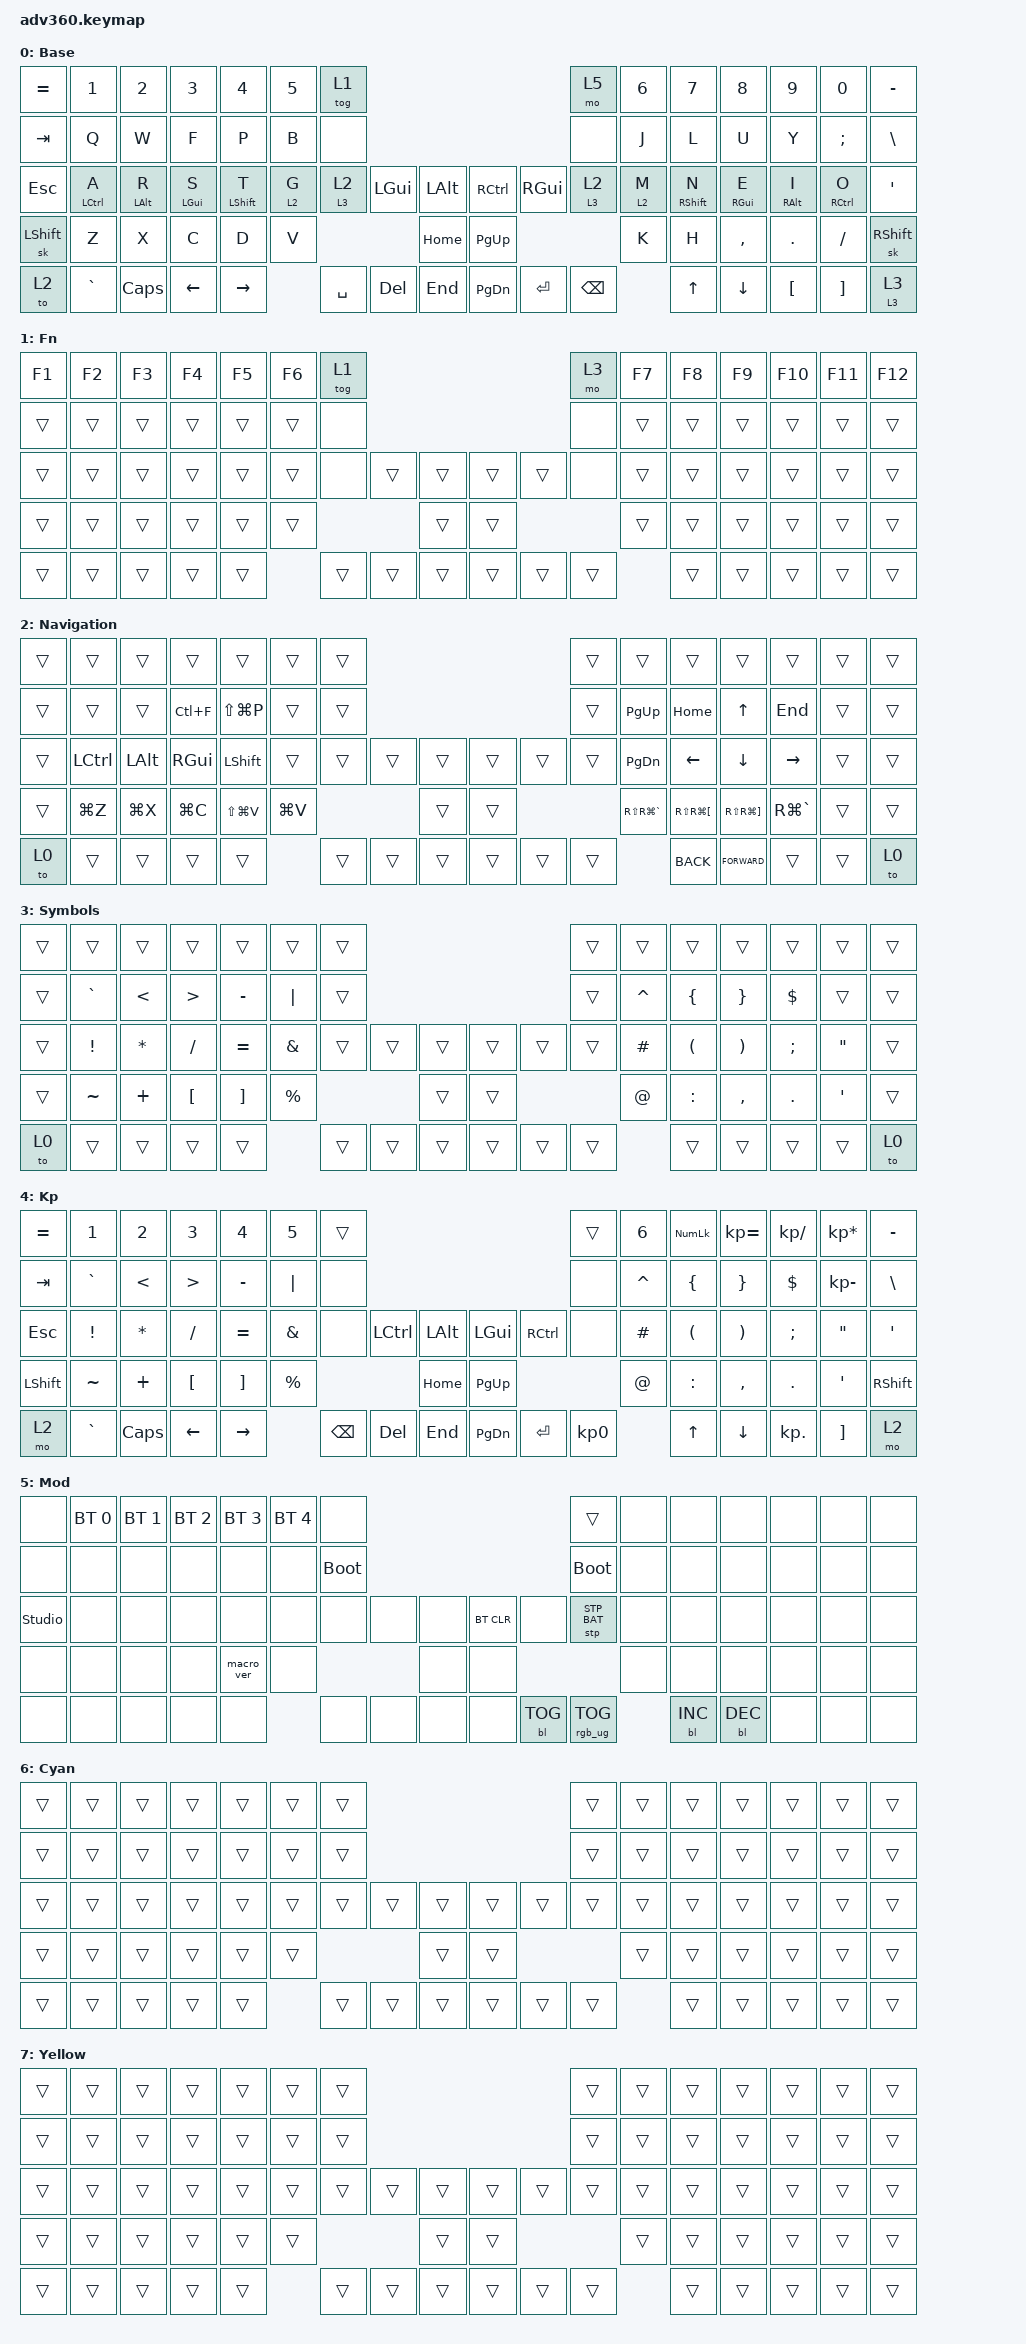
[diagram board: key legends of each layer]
#include <dt-bindings/zmk/stp.h>
#include <behaviors.dtsi>
#include <dt-bindings/zmk/backlight.h>
#include <dt-bindings/zmk/bt.h>
#include <dt-bindings/zmk/keys.h>
#include <dt-bindings/zmk/rgb.h>
#include "include/adv360.h"
#include "include/keys.h"

/ {
    behaviors {
        #include "macros.dtsi"
        #include "version.dtsi"

        hm: homerow_mods {
            compatible = "zmk,behavior-hold-tap";
            label = "HOMEROW_MODS";
            #binding-cells = <2>;
            tapping-term-ms = <200>;
            quick_tap_ms = <175>;
            flavor = "tap-preferred";
            bindings = <&kp>, <&kp>;
        };

        hml: home_row_mod_left {
            compatible = "zmk,behavior-hold-tap";
            #binding-cells = <2>;
            flavor = "balanced";
            require-prior-idle-ms = <125>;
            tapping-term-ms = <280>;
            quick-tap-ms = <175>;
            bindings = <&kp>, <&kp>;

            hold-trigger-key-positions = <KEYS_R THUMBS>;
            hold-trigger-on-release;
        };

        hmr: home_row_mod_right {
            compatible = "zmk,behavior-hold-tap";
            #binding-cells = <2>;
            flavor = "balanced";
            require-prior-idle-ms = <125>;
            tapping-term-ms = <280>;
            quick-tap-ms = <175>;
            bindings = <&kp>, <&kp>;

            hold-trigger-key-positions = <KEYS_L THUMBS>;
            hold-trigger-on-release;
        };

        mo_tog: behavior_mo_tog {
            compatible = "zmk,behavior-hold-tap";
            #binding-cells = <2>;
            flavor = "hold-preferred";
            tapping-term-ms = <200>;
            bindings = <&mo>, <&tog>;
        };
    };

    keymap {
        compatible = "zmk,keymap";

        default_layer {
            display-name = "Base";
            bindings = <
&kp EQUAL  &kp N1               &kp N2           &kp N3           &kp N4             &kp N5   &tog 1                                                                     &mo 5          &kp N6   &kp N7              &kp N8            &kp N9            &kp N0                &kp MINUS
&kp TAB    &kp Q                &kp W            &kp F            &kp P              &kp B    &none                                                                      &none          &kp J    &kp L               &kp U             &kp Y             &kp SEMICOLON         &kp BSLH
&kp ESC    &hml LEFT_CONTROL A  &hml LEFT_ALT R  &hml LEFT_GUI S  &hml LEFT_SHIFT T  &lt 2 G  &mo_tog 3 2  &kp LEFT_GUI  &kp LALT      &kp RIGHT_CONTROL  &kp RIGHT_GUI  &mo_tog 3 2    &lt 2 M  &hmr RIGHT_SHIFT N  &hmr RIGHT_GUI E  &hmr RIGHT_ALT I  &hmr RIGHT_CONTROL O  &kp SQT
&sk LSHFT  &kp Z                &kp X            &kp C            &kp D              &kp V                               &kp HOME      &kp PG_UP                                        &kp K    &kp H               &kp COMMA         &kp DOT           &kp FSLH              &sk RSHFT
&to 2      &kp GRAVE            &kp CAPS         &kp LEFT         &kp RIGHT                   &kp SPACE    &kp DEL       &kp END       &kp PG_DN          &kp ENTER      &kp BACKSPACE           &kp UP              &kp DOWN          &kp LBKT          &kp RBKT              &mo_tog 3 3
            >;
        };

        fn {
            display-name = "Fn";
            bindings = <
&kp F1  &kp F2  &kp F3  &kp F4  &kp F5  &kp F6  &tog 1                                      &mo 3   &kp F7  &kp F8  &kp F9  &kp F10  &kp F11  &kp F12
&trans  &trans  &trans  &trans  &trans  &trans  &none                                       &none   &trans  &trans  &trans  &trans   &trans   &trans
&trans  &trans  &trans  &trans  &trans  &trans  &none   &trans  &trans      &trans  &trans  &none   &trans  &trans  &trans  &trans   &trans   &trans
&trans  &trans  &trans  &trans  &trans  &trans                  &trans      &trans                  &trans  &trans  &trans  &trans   &trans   &trans
&trans  &trans  &trans  &trans  &trans          &trans  &trans  &trans      &trans  &trans  &trans          &trans  &trans  &trans   &trans   &trans
            >;
        };

        red {
            display-name = "Navigation";
            label = "Red";
            bindings = <
&trans  &trans     &trans     &trans     &trans         &trans     &trans                                      &trans  &trans             &trans                    &trans                     &trans         &trans  &trans
&trans  &trans     &trans     &kp LC(F)  &kp LS(LG(P))  &trans     &trans                                      &trans  &kp PG_UP          &kp HOME                  &kp UP                     &kp END        &trans  &trans
&trans  &kp LCTRL  &kp LALT   &kp RGUI   &kp LSHFT      &trans     &trans  &trans  &trans      &trans  &trans  &trans  &kp PG_DN          &kp LEFT                  &kp DOWN                   &kp RIGHT      &trans  &trans
&trans  &kp LG(Z)  &kp LG(X)  &kp LG(C)  &kp LS(LG(V))  &kp LG(V)                  &trans      &trans                  &kp RS(RG(GRAVE))  &kp RS(RG(LEFT_BRACKET))  &kp RS(RG(RIGHT_BRACKET))  &kp RG(GRAVE)  &trans  &trans
&to 0   &trans     &trans     &trans     &trans                    &trans  &trans  &trans      &trans  &trans  &trans                     &kp K_BACK                &kp K_FORWARD              &trans         &trans  &to 0
            >;
        };

        green {
            display-name = "Symbols";
            label = "Green";
            bindings = <
&trans  &trans           &trans         &trans            &trans             &trans         &trans                                      &trans  &trans       &trans                &trans                 &trans         &trans             &trans
&trans  &kp GRAVE        &kp LESS_THAN  &kp GREATER_THAN  &kp MINUS          &kp PIPE       &trans                                      &trans  &kp CARET    &kp LEFT_BRACE        &kp RIGHT_BRACE        &kp DOLLAR     &trans             &trans
&trans  &kp EXCLAMATION  &kp ASTERISK   &kp SLASH         &kp EQUAL          &kp AMPERSAND  &trans  &trans  &trans      &trans  &trans  &trans  &kp HASH     &kp LEFT_PARENTHESIS  &kp RIGHT_PARENTHESIS  &kp SEMICOLON  &kp DOUBLE_QUOTES  &trans
&trans  &kp TILDE        &kp PLUS       &kp LEFT_BRACKET  &kp RIGHT_BRACKET  &kp PERCENT                    &trans      &trans                  &kp AT_SIGN  &kp COLON             &kp COMMA              &kp PERIOD     &kp SQT            &trans
&to 0   &trans           &trans         &trans            &trans                            &trans  &trans  &trans      &trans  &trans  &trans               &trans                &trans                 &trans         &trans             &to 0
            >;
        };

        keypad {
            display-name = "Kp";
            bindings = <
&kp EQUAL  &kp N1           &kp N2         &kp N3            &kp N4             &kp N5         &trans                                                   &trans     &kp N6       &kp KP_NUM            &kp KP_EQUAL           &kp KP_DIVIDE  &kp KP_MULTIPLY    &kp MINUS
&kp TAB    &kp GRAVE        &kp LESS_THAN  &kp GREATER_THAN  &kp MINUS          &kp PIPE       &none                                                    &none      &kp CARET    &kp LEFT_BRACE        &kp RIGHT_BRACE        &kp DOLLAR     &kp KP_MINUS       &kp BSLH
&kp ESC    &kp EXCLAMATION  &kp ASTERISK   &kp SLASH         &kp EQUAL          &kp AMPERSAND  &none     &kp LCTRL  &kp LALT      &kp LGUI   &kp RCTRL  &none      &kp HASH     &kp LEFT_PARENTHESIS  &kp RIGHT_PARENTHESIS  &kp SEMICOLON  &kp DOUBLE_QUOTES  &kp SQT
&kp LSHFT  &kp TILDE        &kp PLUS       &kp LEFT_BRACKET  &kp RIGHT_BRACKET  &kp PERCENT                         &kp HOME      &kp PG_UP                        &kp AT_SIGN  &kp COLON             &kp COMMA              &kp PERIOD     &kp SINGLE_QUOTE   &kp RSHFT
&mo 2      &kp GRAVE        &kp CAPS       &kp LEFT          &kp RIGHT                         &kp BSPC  &kp DEL    &kp END       &kp PG_DN  &kp ENTER  &kp KP_N0               &kp UP                &kp DOWN               &kp KP_DOT     &kp RBKT           &mo 2
            >;
        };

        mod {
            display-name = "Mod";
            label = "Purple";
            bindings = <
&none           &bt BT_SEL 0  &bt BT_SEL 1  &bt BT_SEL 2  &bt BT_SEL 3  &bt BT_SEL 4  &none                                                  &trans           &none  &none       &none       &none  &none  &none
&none           &none         &none         &none         &none         &none         &bootloader                                            &bootloader      &none  &none       &none       &none  &none  &none
&studio_unlock  &none         &none         &none         &none         &none         &none        &none  &none      &bt BT_CLR  &none       &stp STP_BAT     &none  &none       &none       &none  &none  &none
&none           &none         &none         &none         &macro_ver    &none                             &none      &none                                    &none  &none       &none       &none  &none  &none
&none           &none         &none         &none         &none                       &none        &none  &none      &none       &bl BL_TOG  &rgb_ug RGB_TOG         &bl BL_INC  &bl BL_DEC  &none  &none  &none
            >;
        };

        cyan {
            display-name = "Cyan";
            bindings = <
&trans  &trans  &trans  &trans  &trans  &trans  &trans                                      &trans  &trans  &trans  &trans  &trans  &trans  &trans
&trans  &trans  &trans  &trans  &trans  &trans  &trans                                      &trans  &trans  &trans  &trans  &trans  &trans  &trans
&trans  &trans  &trans  &trans  &trans  &trans  &trans  &trans  &trans      &trans  &trans  &trans  &trans  &trans  &trans  &trans  &trans  &trans
&trans  &trans  &trans  &trans  &trans  &trans                  &trans      &trans                  &trans  &trans  &trans  &trans  &trans  &trans
&trans  &trans  &trans  &trans  &trans          &trans  &trans  &trans      &trans  &trans  &trans          &trans  &trans  &trans  &trans  &trans
            >;
        };

        yellow {
            display-name = "Yellow";
            bindings = <
&trans  &trans  &trans  &trans  &trans  &trans  &trans                                      &trans  &trans  &trans  &trans  &trans  &trans  &trans
&trans  &trans  &trans  &trans  &trans  &trans  &trans                                      &trans  &trans  &trans  &trans  &trans  &trans  &trans
&trans  &trans  &trans  &trans  &trans  &trans  &trans  &trans  &trans      &trans  &trans  &trans  &trans  &trans  &trans  &trans  &trans  &trans
&trans  &trans  &trans  &trans  &trans  &trans                  &trans      &trans                  &trans  &trans  &trans  &trans  &trans  &trans
&trans  &trans  &trans  &trans  &trans          &trans  &trans  &trans      &trans  &trans  &trans          &trans  &trans  &trans  &trans  &trans
            >;
        };
    };
};
